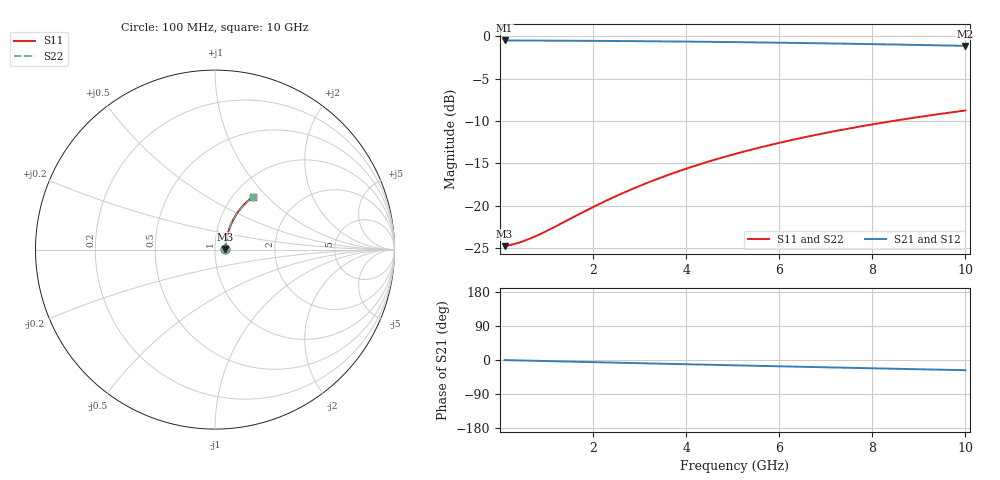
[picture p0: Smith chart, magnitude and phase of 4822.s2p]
# Hz S RI R 50.00
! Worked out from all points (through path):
!   100 points, 100 MHz to 10 GHz, reference 50 ohm
!   highest |S21| = -0.52 dB at 100 MHz (marker M1); lowest = -1.2 dB at 10 GHz (marker M2)
!   group delay of S21, straight-line fit = 7.49 ps
!   lowest |S11| = -24.7 dB at 100 MHz (marker M3), VSWR 1.12, Z = 56.1 + j0.41 ohm
!   |S11| at or under -10 dB: start of sweep to 8.443 GHz
!   |S22| runs from -24.7 to -8.8 dB; largest |S21 - S12| = 0
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1e8  0.0579 0.00364  0.9421 -0.00464  0.9421 -0.00464  0.0579 0.00364
3e8  0.0586 0.0109  0.9414 -0.0139  0.9414 -0.0139  0.0586 0.0109
4e8  0.059 0.0145  0.941 -0.0185  0.941 -0.0185  0.059 0.0145
5e8  0.0593 0.0181  0.9407 -0.0232  0.9407 -0.0232  0.0593 0.0181
7e8  0.06 0.0254  0.9399 -0.0324  0.9399 -0.0324  0.06 0.0254
9e8  0.0608 0.0326  0.9391 -0.0416  0.9391 -0.0416  0.0608 0.0326
1.1e9  0.0618 0.0398  0.9382 -0.0508  0.9382 -0.0508  0.0618 0.0398
1.8e9  0.0659 0.0647  0.9339 -0.0827  0.9339 -0.0827  0.0659 0.0647
2.2e9  0.069 0.0788  0.9307 -0.1008  0.9307 -0.1008  0.069 0.0788
2.6e9  0.0726 0.0927  0.9271 -0.1187  0.9271 -0.1187  0.0726 0.0927
3e9  0.0766 0.1064  0.9229 -0.1365  0.9229 -0.1365  0.0766 0.1064
3.4e9  0.0812 0.1199  0.9182 -0.154  0.9182 -0.154  0.0812 0.1199
3.8e9  0.0863 0.1331  0.9129 -0.1713  0.9129 -0.1713  0.0863 0.1331
4.2e9  0.0918 0.1461  0.9072 -0.1883  0.9072 -0.1883  0.0918 0.1461
4.6e9  0.0978 0.1589  0.9011 -0.205  0.9011 -0.205  0.0978 0.1589
5.1e9  0.1059 0.1743  0.8927 -0.2255  0.8927 -0.2255  0.1059 0.1743
5.9e9  0.1202 0.198  0.8779 -0.2573  0.8779 -0.2573  0.1202 0.198
6.7e9  0.1361 0.2203  0.8615 -0.2876  0.8615 -0.2876  0.1361 0.2203
7.5e9  0.1533 0.241  0.8437 -0.3165  0.8437 -0.3165  0.1533 0.241
8.4e9  0.174 0.2624  0.8222 -0.347  0.8222 -0.347  0.174 0.2624
9.2e9  0.1935 0.2796  0.802 -0.3724  0.802 -0.3724  0.1935 0.2796
1e10  0.2138 0.2952  0.7809 -0.3962  0.7809 -0.3962  0.2138 0.2952
